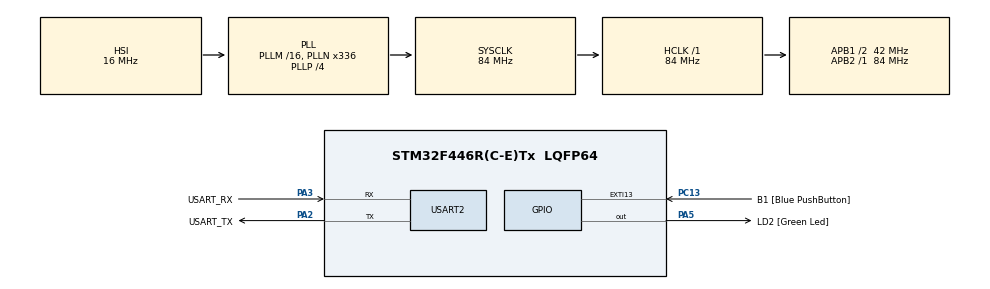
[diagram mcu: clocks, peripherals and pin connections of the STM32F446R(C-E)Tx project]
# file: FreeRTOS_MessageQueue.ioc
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FREERTOS.Queues01=messageQueue,10,uint32_t,0,Dynamic,NULL,NULL
FREERTOS.Tasks01=btnSenderTask,24,128,StartBtnSenderTask,Default,NULL,Dynamic,NULL,NULL;prdSenderTask,24,128,StartperiodicSenderTask,Default,NULL,Dynamic,NULL,NULL;uartTask,25,512,StartUartTask,Default,NULL,Dynamic,NULL,NULL
FREERTOS.configUSE_NEWLIB_REENTRANT=1
Mcu.Family=STM32F4
Mcu.Name=STM32F446R(C-E)Tx
Mcu.Package=LQFP64
NVIC.PriorityGroup=NVIC_PRIORITYGROUP_4
NVIC.TIM6_DAC_IRQn=true\:15\:0\:false\:false\:true\:false\:false\:true\:true
NVIC.TimeBase=TIM6_DAC_IRQn
NVIC.TimeBaseIP=TIM6
PA13.GPIO_Label=TMS
PA13.Mode=Serial_Wire
PA13.Signal=SYS_JTMS-SWDIO
PA14.GPIO_Label=TCK
PA14.Mode=Serial_Wire
PA14.Signal=SYS_JTCK-SWCLK
PA2.GPIO_Label=USART_TX
PA2.Mode=Asynchronous
PA2.Signal=USART2_TX
PA3.GPIO_Label=USART_RX
PA3.Mode=Asynchronous
PA3.Signal=USART2_RX
PA5.GPIO_Label=LD2 [Green Led]
PA5.Signal=GPIO_Output
PB3.GPIO_Label=SWO
PB3.Signal=SYS_JTDO-SWO
PC13.GPIO_Label=B1 [Blue PushButton]
PC13.GPIO_ModeDefaultEXTI=GPIO_MODE_IT_FALLING
PC13.Signal=GPXTI13
PC14-OSC32_IN.Mode=LSE-External-Oscillator
PC14-OSC32_IN.Signal=RCC_OSC32_IN
PC15-OSC32_OUT.Mode=LSE-External-Oscillator
PC15-OSC32_OUT.Signal=RCC_OSC32_OUT
PH0-OSC_IN.Mode=HSE-External-Oscillator
PH0-OSC_IN.Signal=RCC_OSC_IN
PH1-OSC_OUT.Mode=HSE-External-Oscillator
PH1-OSC_OUT.Signal=RCC_OSC_OUT
ProjectManager.HeapSize=0x200
ProjectManager.StackSize=0x400
ProjectManager.TargetToolchain=STM32CubeIDE
RCC.48MHZClocksFreq_Value=84000000
RCC.AHBFreq_Value=84000000
RCC.APB1CLKDivider=RCC_HCLK_DIV2
RCC.APB1Freq_Value=42000000
RCC.APB1TimFreq_Value=84000000
RCC.APB2Freq_Value=84000000
RCC.APB2TimFreq_Value=84000000
RCC.CortexFreq_Value=84000000
RCC.FLatency-AdvancedSettings=FLASH_LATENCY_2
RCC.HCLKFreq_Value=84000000
RCC.HSE_VALUE=8000000
RCC.HSI_VALUE=16000000
RCC.PLLN=336
RCC.PLLP=RCC_PLLP_DIV4
RCC.SYSCLKFreq_VALUE=84000000
RCC.SYSCLKSource=RCC_SYSCLKSOURCE_PLLCLK
RCC.USBFreq_Value=168000000
RCC.VCOOutputFreq_Value=336000000
USART2.VirtualMode=VM_ASYNC
VP_FREERTOS_VS_CMSIS_V2.Mode=CMSIS_V2
VP_SYS_VS_tim6.Mode=TIM6
board=NUCLEO-F446RE

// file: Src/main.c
/* USER CODE BEGIN Header */
/**
  ******************************************************************************
  * @file           : main.c
  * @brief          : Main program body
  ******************************************************************************
  * @attention
  *
  * Copyright (c) 2026 STMicroelectronics.
  * All rights reserved.
  *
  * This software is licensed under terms that can be found in the LICENSE file
  * in the root directory of this software component.
  * If no LICENSE file comes with this software, it is provided AS-IS.
  *
  ******************************************************************************
  */
/* USER CODE END Header */
#include "main.h"
#include "cmsis_os.h"

/* USER CODE BEGIN Includes */
#include <stdio.h>
/* USER CODE END Includes */

UART_HandleTypeDef huart2;

/* Definitions for btnSenderTask */
osThreadId_t btnSenderTaskHandle;
const osThreadAttr_t btnSenderTask_attributes = {
  .name = "btnSenderTask",
  .stack_size = 128 * 4,
  .priority = (osPriority_t) osPriorityNormal,
};
/* Definitions for prdSenderTask */
osThreadId_t prdSenderTaskHandle;
const osThreadAttr_t prdSenderTask_attributes = {
  .name = "prdSenderTask",
  .stack_size = 128 * 4,
  .priority = (osPriority_t) osPriorityNormal,
};
/* Definitions for uartTask */
osThreadId_t uartTaskHandle;
const osThreadAttr_t uartTask_attributes = {
  .name = "uartTask",
  .stack_size = 512 * 4,
  .priority = (osPriority_t) osPriorityNormal1,
};
/* Definitions for messageQueue */
osMessageQueueId_t messageQueueHandle;
const osMessageQueueAttr_t messageQueue_attributes = {
  .name = "messageQueue"
};

void SystemClock_Config(void);
static void MX_GPIO_Init(void);
static void MX_USART2_UART_Init(void);
void StartBtnSenderTask(void *argument);
void StartperiodicSenderTask(void *argument);
void StartUartTask(void *argument);

/* USER CODE BEGIN 0 */
typedef struct {
	uint8_t event_id;
	uint32_t timestamp;
} messageQueue_t;

/* Redirect printf to UART */
  int __io_putchar(int ch)
  {
      HAL_UART_Transmit(&huart2, (uint8_t *)&ch, 1, HAL_MAX_DELAY);
      return ch;
  }
/* USER CODE END 0 */

int main(void)
{

  /* MCU Configuration--------------------------------------------------------*/

  /* Reset of all peripherals, Initializes the Flash interface and the Systick. */
  HAL_Init();

  /* Configure the system clock */
  SystemClock_Config();

  /* Initialize all configured peripherals */
  MX_GPIO_Init();
  MX_USART2_UART_Init();

  /* Init scheduler */
  osKernelInitialize();

  /* Create the queue(s) */
  /* creation of messageQueue */
  messageQueueHandle = osMessageQueueNew (10, sizeof(messageQueue_t), &messageQueue_attributes);

  /* Create the thread(s) */
  /* creation of btnSenderTask */
  btnSenderTaskHandle = osThreadNew(StartBtnSenderTask, NULL, &btnSenderTask_attributes);

  /* creation of prdSenderTask */
  prdSenderTaskHandle = osThreadNew(StartperiodicSenderTask, NULL, &prdSenderTask_attributes);

  /* creation of uartTask */
  uartTaskHandle = osThreadNew(StartUartTask, NULL, &uartTask_attributes);

  /* Start scheduler */
  osKernelStart();

  /* We should never get here as control is now taken by the scheduler */

  /* Infinite loop */
  while (1)
  {

  }
}

void SystemClock_Config(void)
{
  RCC_OscInitTypeDef RCC_OscInitStruct = {0};
  RCC_ClkInitTypeDef RCC_ClkInitStruct = {0};

  /** Configure the main internal regulator output voltage
  */
  __HAL_RCC_PWR_CLK_ENABLE();
  __HAL_PWR_VOLTAGESCALING_CONFIG(PWR_REGULATOR_VOLTAGE_SCALE3);

  /** Initializes the RCC Oscillators according to the specified parameters
  * in the RCC_OscInitTypeDef structure.
  */
  RCC_OscInitStruct.OscillatorType = RCC_OSCILLATORTYPE_HSI;
  RCC_OscInitStruct.HSIState = RCC_HSI_ON;
  RCC_OscInitStruct.HSICalibrationValue = RCC_HSICALIBRATION_DEFAULT;
  RCC_OscInitStruct.PLL.PLLState = RCC_PLL_ON;
  RCC_OscInitStruct.PLL.PLLSource = RCC_PLLSOURCE_HSI;
  RCC_OscInitStruct.PLL.PLLM = 16;
  RCC_OscInitStruct.PLL.PLLN = 336;
  RCC_OscInitStruct.PLL.PLLP = RCC_PLLP_DIV4;
  RCC_OscInitStruct.PLL.PLLQ = 2;
  RCC_OscInitStruct.PLL.PLLR = 2;
  if (HAL_RCC_OscConfig(&RCC_OscInitStruct) != HAL_OK)
  {
    Error_Handler();
  }

  /** Initializes the CPU, AHB and APB buses clocks
  */
  RCC_ClkInitStruct.ClockType = RCC_CLOCKTYPE_HCLK|RCC_CLOCKTYPE_SYSCLK
                              |RCC_CLOCKTYPE_PCLK1|RCC_CLOCKTYPE_PCLK2;
  RCC_ClkInitStruct.SYSCLKSource = RCC_SYSCLKSOURCE_PLLCLK;
  RCC_ClkInitStruct.AHBCLKDivider = RCC_SYSCLK_DIV1;
  RCC_ClkInitStruct.APB1CLKDivider = RCC_HCLK_DIV2;
  RCC_ClkInitStruct.APB2CLKDivider = RCC_HCLK_DIV1;

  if (HAL_RCC_ClockConfig(&RCC_ClkInitStruct, FLASH_LATENCY_2) != HAL_OK)
  {
    Error_Handler();
  }
}

static void MX_USART2_UART_Init(void)
{

  huart2.Instance = USART2;
  huart2.Init.BaudRate = 115200;
  huart2.Init.WordLength = UART_WORDLENGTH_8B;
  huart2.Init.StopBits = UART_STOPBITS_1;
  huart2.Init.Parity = UART_PARITY_NONE;
  huart2.Init.Mode = UART_MODE_TX_RX;
  huart2.Init.HwFlowCtl = UART_HWCONTROL_NONE;
  huart2.Init.OverSampling = UART_OVERSAMPLING_16;
  if (HAL_UART_Init(&huart2) != HAL_OK)
  {
    Error_Handler();
  }

}

static void MX_GPIO_Init(void)
{
  GPIO_InitTypeDef GPIO_InitStruct = {0};

  /* GPIO Ports Clock Enable */
  __HAL_RCC_GPIOC_CLK_ENABLE();
  __HAL_RCC_GPIOH_CLK_ENABLE();
  __HAL_RCC_GPIOA_CLK_ENABLE();
  __HAL_RCC_GPIOB_CLK_ENABLE();

  /*Configure GPIO pin Output Level */
  HAL_GPIO_WritePin(LD2_GPIO_Port, LD2_Pin, GPIO_PIN_RESET);

  /*Configure GPIO pin : B1_Pin */
  GPIO_InitStruct.Pin = B1_Pin;
  GPIO_InitStruct.Mode = GPIO_MODE_IT_FALLING;
  GPIO_InitStruct.Pull = GPIO_NOPULL;
  HAL_GPIO_Init(B1_GPIO_Port, &GPIO_InitStruct);

  /*Configure GPIO pin : LD2_Pin */
  GPIO_InitStruct.Pin = LD2_Pin;
  GPIO_InitStruct.Mode = GPIO_MODE_OUTPUT_PP;
  GPIO_InitStruct.Pull = GPIO_NOPULL;
  GPIO_InitStruct.Speed = GPIO_SPEED_FREQ_LOW;
  HAL_GPIO_Init(LD2_GPIO_Port, &GPIO_InitStruct);

}

void StartBtnSenderTask(void *argument)
{
  /* USER CODE BEGIN 5 */
	messageQueue_t msg;
  /* Infinite loop */
  for(;;)
  {
	  if(HAL_GPIO_ReadPin(B1_GPIO_Port, B1_Pin) == GPIO_PIN_RESET) //button Press
	  {
		  msg.event_id = 0x01;
		  msg.timestamp = HAL_GetTick();

		  osMessageQueuePut(messageQueueHandle, &msg, 0, 0);
		  osDelay(200);
	  }
      osDelay(20);
  }
  /* USER CODE END 5 */
}

void StartperiodicSenderTask(void *argument)
{
  /* USER CODE BEGIN StartperiodicSenderTask */
	messageQueue_t msg;
  /* Infinite loop */
  for(;;)
  {
	  msg.event_id = 0x02;
	  msg.timestamp = HAL_GetTick();

	  osMessageQueuePut(messageQueueHandle, &msg, 0, 0);
      osDelay(1000);
  }
  /* USER CODE END StartperiodicSenderTask */
}

void StartUartTask(void *argument)
{
  /* USER CODE BEGIN StartUartTask */
	messageQueue_t msg;
  /* Infinite loop */
  for(;;)
  {
	  if (osMessageQueueGet(messageQueueHandle, &msg, 0, osWaitForever) == osOK)
	  {
		  printf ("Event ID: %d, Timestamp: %lu\r\n", msg.event_id, msg.timestamp);
	  }
      osDelay(1);
  }
  /* USER CODE END StartUartTask */
}

void HAL_TIM_PeriodElapsedCallback(TIM_HandleTypeDef *htim)
{
  if (htim->Instance == TIM6)
  {
    HAL_IncTick();
  }
}

void Error_Handler(void)
{
  __disable_irq();
  while (1)
  {
  }
}
